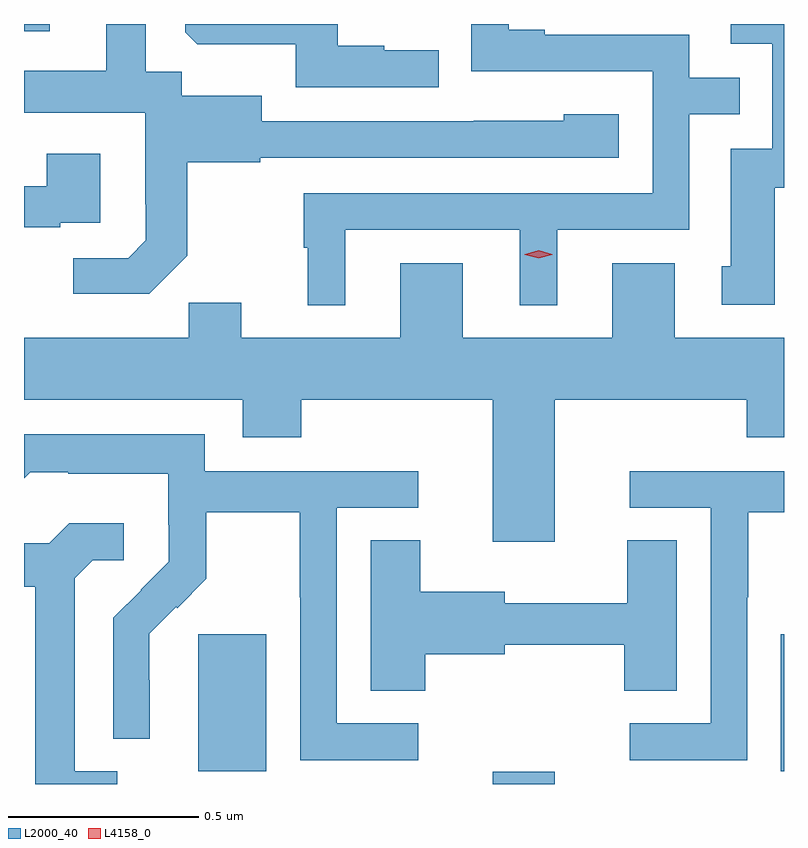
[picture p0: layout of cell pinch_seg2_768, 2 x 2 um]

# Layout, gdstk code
import gdstk
lib = gdstk.Library(unit=1e-6, precision=1e-09)
def R(c, l, rs):  # rectangles x0, y0, x1, y1
    for r in rs: c.add(gdstk.rectangle(r[:2], r[2:], *l))
def P(c, l, *ps):  # polygons
    for p in ps: c.add(gdstk.Polygon(p, *l))
L2000_40 = (2000, 40)
L4158_0 = (4158, 0)

pinch_seg2_768 = lib.new_cell('pinch_seg2_768')
R(pinch_seg2_768, L2000_40, [(824.348,646.625,824.512,646.657), (823.574,646.658,823.753,647.019), (825.107,646.658,825.115,647.019), (823.115,648.606,823.183,648.625)])
P(pinch_seg2_768, L2000_40, [(824.207,648.556),(824.063,648.556),(824.063,648.568),(823.94,648.568),(823.94,648.625),(823.539,648.625),(823.539,648.603),(823.571,648.572),(823.83,648.572),(823.83,648.459),(824.207,648.459)],
  [(823.96,648.084),(824.42,648.084),(824.42,647.885),(824.518,647.885),(824.518,648.084),(824.865,648.084),(824.865,648.387),(824.999,648.387),(824.999,648.483),(824.865,648.483),(824.865,648.597),(824.485,648.597),(824.485,648.61),(824.391,648.61),(824.391,648.625),(824.292,648.625),(824.292,648.501),(824.769,648.501),(824.769,648.18),(823.851,648.18),(823.851,648.036),(823.862,648.036),(823.862,647.885),(823.96,647.885)],
  [(823.545,648.015),(823.545,648.261),(823.737,648.261),(823.737,648.273),(824.68,648.273),(824.68,648.388),(824.535,648.388),(824.535,648.37),(824.299,648.37),(824.299,648.369),(823.741,648.369),(823.741,648.436),(823.53,648.436),(823.53,648.5),(823.435,648.5),(823.435,648.625),(823.331,648.625),(823.331,648.502),(823.115,648.502),(823.115,648.392),(823.434,648.392),(823.434,648.151),(823.436,648.151),(823.436,648.056),(823.389,648.009),(823.245,648.009),(823.245,647.915),(823.445,647.915)],
  [(825.091,648.194),(825.115,648.194),(825.115,648.625),(824.975,648.625),(824.975,648.573),(825.084,648.573),(825.084,648.297),(824.975,648.297),(824.975,647.988),(824.951,647.988),(824.951,647.886),(825.091,647.886)],
  [(823.211,648.102),(823.315,648.102),(823.315,648.283),(823.175,648.283),(823.175,648.198),(823.115,648.198),(823.115,648.09),(823.211,648.09)],
  [(824.105,647.995),(824.105,647.8),(823.687,647.8),(823.687,647.891),(823.549,647.891),(823.549,647.8),(823.115,647.8),(823.115,647.636),(823.691,647.636),(823.691,647.537),(823.844,647.537),(823.844,647.636),(824.348,647.636),(824.348,647.262),(824.512,647.262),(824.512,647.636),(825.017,647.636),(825.017,647.537),(825.115,647.537),(825.115,647.8),(824.827,647.8),(824.827,647.995),(824.663,647.995),(824.663,647.8),(824.269,647.8),(824.269,647.995)],
  [(824.152,646.785),(823.938,646.785),(823.938,647.352),(824.152,647.352),(824.152,647.448),(823.59,647.448),(823.59,647.545),(823.115,647.545),(823.115,647.429),(823.131,647.445),(823.231,647.445),(823.231,647.441),(823.494,647.441),(823.494,647.307),(823.496,647.307),(823.496,647.21),(823.422,647.136),(823.423,647.135),(823.35,647.062),(823.35,646.744),(823.446,646.744),(823.446,646.898),(823.445,646.898),(823.445,647.021),(823.515,647.091),(823.518,647.088),(823.595,647.165),(823.595,647.34),(823.84,647.34),(823.84,647.116),(823.842,647.116),(823.842,646.687),(824.152,646.687)],
  [(825.018,647.116),(825.021,647.116),(825.021,647.34),(825.115,647.34),(825.115,647.448),(824.709,647.448),(824.709,647.352),(824.922,647.352),(824.922,646.785),(824.709,646.785),(824.709,646.687),(825.018,646.687)],
  [(823.36,646.659),(823.249,646.659),(823.249,647.167),(823.296,647.214),(823.378,647.214),(823.378,647.311),(823.234,647.311),(823.182,647.259),(823.115,647.259),(823.115,647.144),(823.145,647.144),(823.145,646.625),(823.36,646.625)],
  [(824.171,646.966),(824.38,646.966),(824.38,646.992),(824.695,646.992),(824.695,646.87),(824.833,646.87),(824.833,647.267),(824.702,647.267),(824.702,647.101),(824.38,647.101),(824.38,647.131),(824.158,647.131),(824.158,647.267),(824.027,647.267),(824.027,646.87),(824.171,646.87)])
P(pinch_seg2_768, L4158_0, [(824.469,648.009),(824.433,648.018),(824.433,648.019),(824.433,648.019),(824.469,648.029),(824.505,648.019),(824.505,648.019),(824.505,648.018)])

lib.write_gds('pinch_seg2_768.gds')
